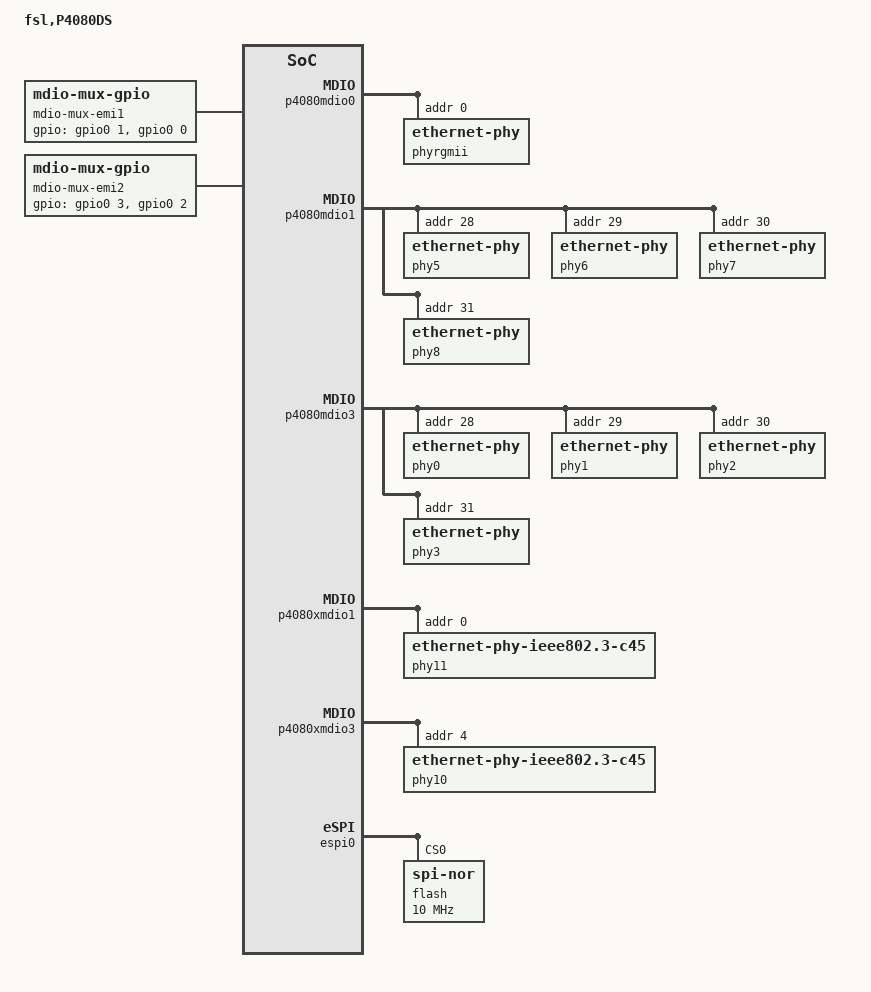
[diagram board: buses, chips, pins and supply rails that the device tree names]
// SPDX-License-Identifier: GPL-2.0+ OR X11
/*
 * P4080DS Device Tree Source
 *
 * Copyright 2011 - 2015 Freescale Semiconductor Inc.
 * Copyright 2019-2020 NXP
 */

/include/ "p4080.dtsi"

/ {
	model = "fsl,P4080DS";
	compatible = "fsl,P4080DS";
	#address-cells = <2>;
	#size-cells = <2>;
	interrupt-parent = <&mpic>;

	aliases {
		phy_rgmii = &phyrgmii;
		phy5_slot3 = &phy5slot3;
		phy6_slot3 = &phy6slot3;
		phy7_slot3 = &phy7slot3;
		phy8_slot3 = &phy8slot3;
		emi1_slot3 = &p4080mdio2;
		emi1_slot4 = &p4080mdio1;
		emi1_slot5 = &p4080mdio3;
		emi1_rgmii = &p4080mdio0;
		emi2_slot4 = &p4080xmdio1;
		emi2_slot5 = &p4080xmdio3;
		spi0 = &espi0;
	};

	soc: soc@ffe000000 {
		ranges = <0x00000000 0xf 0xfe000000 0x1000000>;
		reg = <0xf 0xfe000000 0 0x00001000>;

		fman@400000 {
			ethernet@e0000 {
				phy-handle = <&phy0>;
				phy-connection-type = "sgmii";
			};

			ethernet@e2000 {
				phy-handle = <&phy1>;
				phy-connection-type = "sgmii";
			};

			ethernet@e4000 {
				phy-handle = <&phy2>;
				phy-connection-type = "sgmii";
			};

			ethernet@e6000 {
				phy-handle = <&phy3>;
				phy-connection-type = "sgmii";
			};

			ethernet@f0000 {
				phy-handle = <&phy10>;
				phy-connection-type = "xgmii";
			};
		};

		fman@500000 {
			ethernet@e0000 {
				phy-handle = <&phy5>;
				phy-connection-type = "sgmii";
			};

			ethernet@e2000 {
				phy-handle = <&phy6>;
				phy-connection-type = "sgmii";
			};

			ethernet@e4000 {
				phy-handle = <&phy7>;
				phy-connection-type = "sgmii";
			};

			ethernet@e6000 {
				phy-handle = <&phy8>;
				phy-connection-type = "sgmii";
			};

			ethernet@f0000 {
				phy-handle = <&phy11>;
				phy-connection-type = "xgmii";
			};
		};
	};

	mdio-mux-emi1 {
		#address-cells = <1>;
		#size-cells = <0>;
		compatible = "mdio-mux-gpio", "mdio-mux";
		mdio-parent-bus = <&mdio0>;
		gpios = <&gpio0 1 0>, <&gpio0 0 0>;

		p4080mdio0: mdio@0 {
			#address-cells = <1>;
			#size-cells = <0>;
			reg = <0>;

			phyrgmii: ethernet-phy@0 {
				reg = <0x0>;
			};
		};

		p4080mdio1: mdio@1 {
			#address-cells = <1>;
			#size-cells = <0>;
			reg = <1>;

			phy5: ethernet-phy@1c {
				reg = <0x1c>;
			};

			phy6: ethernet-phy@1d {
				reg = <0x1d>;
			};

			phy7: ethernet-phy@1e {
				reg = <0x1e>;
			};

			phy8: ethernet-phy@1f {
				reg = <0x1f>;
			};
		};

		p4080mdio2: mdio@2 {
			#address-cells = <1>;
			#size-cells = <0>;
			reg = <2>;
			status = "disabled";

			phy5slot3: ethernet-phy@1c {
				reg = <0x1c>;
			};

			phy6slot3: ethernet-phy@1d {
				reg = <0x1d>;
			};

			phy7slot3: ethernet-phy@1e {
				reg = <0x1e>;
			};

			phy8slot3: ethernet-phy@1f {
				reg = <0x1f>;
			};
		};

		p4080mdio3: mdio@3 {
			#address-cells = <1>;
			#size-cells = <0>;
			reg = <3>;

			phy0: ethernet-phy@1c {
				reg = <0x1c>;
			};

			phy1: ethernet-phy@1d {
				reg = <0x1d>;
			};

			phy2: ethernet-phy@1e {
				reg = <0x1e>;
			};

			phy3: ethernet-phy@1f {
				reg = <0x1f>;
			};
		};
	};

	mdio-mux-emi2 {
		#address-cells = <1>;
		#size-cells = <0>;
		compatible = "mdio-mux-gpio", "mdio-mux";
		mdio-parent-bus = <&xmdio0>;
		gpios = <&gpio0 3 0>, <&gpio0 2 0>;

		p4080xmdio1: mdio@1 {
			#address-cells = <1>;
			#size-cells = <0>;
			reg = <1>;

			phy11: ethernet-phy@0 {
				compatible = "ethernet-phy-ieee802.3-c45";
				reg = <0x0>;
			};
		};

		p4080xmdio3: mdio@3 {
			#address-cells = <1>;
			#size-cells = <0>;
			reg = <3>;

			phy10: ethernet-phy@4 {
				compatible = "ethernet-phy-ieee802.3-c45";
				reg = <0x4>;
			};
		};
	};
};

&espi0 {
	status = "okay";
	flash@0 {
		compatible = "jedec,spi-nor";
		#address-cells = <1>;
		#size-cells = <1>;
		reg = <0>;
		/* input clock */
		spi-max-frequency = <10000000>;
	};
};

/include/ "p4080si-post.dtsi"
